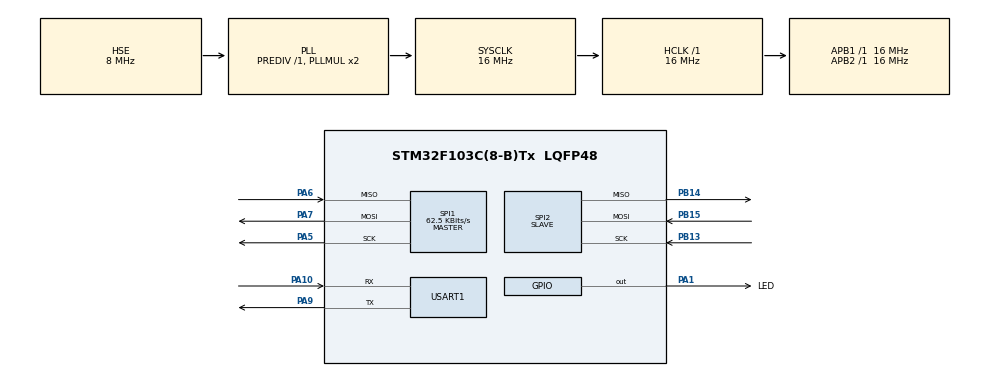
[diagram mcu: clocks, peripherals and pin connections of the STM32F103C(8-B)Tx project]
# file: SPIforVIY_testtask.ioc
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Dma.Request0=SPI1_TX
Dma.Request1=SPI2_RX
Dma.SPI1_TX.0.Direction=DMA_MEMORY_TO_PERIPH
Dma.SPI1_TX.0.Instance=DMA1_Channel3
Dma.SPI1_TX.0.MemDataAlignment=DMA_MDATAALIGN_BYTE
Dma.SPI1_TX.0.MemInc=DMA_MINC_ENABLE
Dma.SPI1_TX.0.Mode=DMA_NORMAL
Dma.SPI1_TX.0.PeriphDataAlignment=DMA_PDATAALIGN_BYTE
Dma.SPI1_TX.0.PeriphInc=DMA_PINC_DISABLE
Dma.SPI1_TX.0.Priority=DMA_PRIORITY_LOW
Dma.SPI2_RX.1.Direction=DMA_PERIPH_TO_MEMORY
Dma.SPI2_RX.1.Instance=DMA1_Channel4
Dma.SPI2_RX.1.MemDataAlignment=DMA_MDATAALIGN_BYTE
Dma.SPI2_RX.1.MemInc=DMA_MINC_ENABLE
Dma.SPI2_RX.1.Mode=DMA_NORMAL
Dma.SPI2_RX.1.PeriphDataAlignment=DMA_PDATAALIGN_BYTE
Dma.SPI2_RX.1.PeriphInc=DMA_PINC_DISABLE
Dma.SPI2_RX.1.Priority=DMA_PRIORITY_LOW
Mcu.Family=STM32F1
Mcu.Name=STM32F103C(8-B)Tx
Mcu.Package=LQFP48
NVIC.DMA1_Channel3_IRQn=true\:0\:0\:false\:false\:true\:false\:true\:true
NVIC.DMA1_Channel4_IRQn=true\:0\:0\:false\:false\:true\:false\:true\:true
NVIC.PriorityGroup=NVIC_PRIORITYGROUP_4
PA1.GPIO_Label=LED
PA1.Signal=GPIO_Output
PA10.Mode=Asynchronous
PA10.Signal=USART1_RX
PA13.Mode=Serial_Wire
PA13.Signal=SYS_JTMS-SWDIO
PA14.Mode=Serial_Wire
PA14.Signal=SYS_JTCK-SWCLK
PA5.Mode=Full_Duplex_Master
PA5.Signal=SPI1_SCK
PA6.Mode=Full_Duplex_Master
PA6.Signal=SPI1_MISO
PA7.Mode=Full_Duplex_Master
PA7.Signal=SPI1_MOSI
PA9.Mode=Asynchronous
PA9.Signal=USART1_TX
PB13.Mode=Full_Duplex_Slave
PB13.Signal=SPI2_SCK
PB14.Mode=Full_Duplex_Slave
PB14.Signal=SPI2_MISO
PB15.Mode=Full_Duplex_Slave
PB15.Signal=SPI2_MOSI
PD0-OSC_IN.Mode=HSE-External-Oscillator
PD0-OSC_IN.Signal=RCC_OSC_IN
PD1-OSC_OUT.Mode=HSE-External-Oscillator
PD1-OSC_OUT.Signal=RCC_OSC_OUT
ProjectManager.HeapSize=0x200
ProjectManager.StackSize=0x400
ProjectManager.TargetToolchain=STM32CubeIDE
RCC.AHBFreq_Value=16000000
RCC.APB1Freq_Value=16000000
RCC.APB1TimFreq_Value=16000000
RCC.APB2Freq_Value=16000000
RCC.APB2TimFreq_Value=16000000
RCC.HCLKFreq_Value=16000000
RCC.PLLSourceVirtual=RCC_PLLSOURCE_HSE
RCC.SYSCLKFreq_VALUE=16000000
RCC.SYSCLKSource=RCC_SYSCLKSOURCE_PLLCLK
RCC.USBFreq_Value=16000000
SPI1.BaudRatePrescaler=SPI_BAUDRATEPRESCALER_256
SPI1.CalculateBaudRate=62.5 KBits/s
SPI1.Direction=SPI_DIRECTION_2LINES
SPI1.Mode=SPI_MODE_MASTER
SPI1.VirtualType=VM_MASTER
SPI2.Direction=SPI_DIRECTION_2LINES
SPI2.Mode=SPI_MODE_SLAVE
SPI2.VirtualType=VM_SLAVE
USART1.VirtualMode=VM_ASYNC
board=custom

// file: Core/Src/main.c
/* USER CODE BEGIN Header */
/**
  ******************************************************************************
  * @file           : main.c
  * @brief          : Main program body
  ******************************************************************************
  * @attention
  *
  * Copyright (c) 2022 STMicroelectronics.
  * All rights reserved.
  *
  * This software is licensed under terms that can be found in the LICENSE file
  * in the root directory of this software component.
  * If no LICENSE file comes with this software, it is provided AS-IS.
  *
  ******************************************************************************
  */
/* USER CODE END Header */
#include "main.h"
#include "dma.h"
#include "spi.h"
#include "usart.h"
#include "gpio.h"

/* USER CODE BEGIN Includes */

	#include "stdio.h"
	#include <string.h>

/* USER CODE END Includes */

/* USER CODE BEGIN PD */

	#define	SPI_BUFFER_SIZE	16

/* USER CODE END PD */

/* USER CODE BEGIN PV */

	uint8_t tx_buffer_u8[SPI_BUFFER_SIZE];
	uint8_t rx_buffer_u8[SPI_BUFFER_SIZE]  = { 0 };
	uint8_t offset_u8 = 0x21;

/* USER CODE END PV */

void SystemClock_Config(void);

int main(void)
{

  /* MCU Configuration--------------------------------------------------------*/

  /* Reset of all peripherals, Initializes the Flash interface and the Systick. */
  HAL_Init();

  /* Configure the system clock */
  SystemClock_Config();

  /* Initialize all configured peripherals */
  MX_GPIO_Init();
  MX_DMA_Init();
  MX_USART1_UART_Init();
  MX_SPI1_Init();
  MX_SPI2_Init();
  /* USER CODE BEGIN 2 */

  	char DataChar[0xFF];
	sprintf(DataChar,"\r\n\tSPI+DMA for VIY\r\n" );
	HAL_UART_Transmit( &huart1, (uint8_t *)DataChar , strlen(DataChar) , 100 ) ;

	#define DATE_as_int_str 	(__DATE__)
	#define TIME_as_int_str 	(__TIME__)
	sprintf(DataChar,"\tBuild: %s. Time: %s." , DATE_as_int_str , TIME_as_int_str ) ;
	HAL_UART_Transmit( &huart1, (uint8_t *)DataChar , strlen(DataChar) , 100 ) ;

	sprintf(DataChar,"\r\n\tFor debug: UART1-115200/8-N-1\r\n" ) ;
	HAL_UART_Transmit( &huart1, (uint8_t *)DataChar , strlen(DataChar) , 100 ) ;

  /* USER CODE END 2 */

  /* Infinite loop */
  /* USER CODE BEGIN WHILE */
  while (1)
  {
	for (uint8_t i = 0; i < SPI_BUFFER_SIZE; i++) {
		tx_buffer_u8[i] = i + offset_u8;
	}
	offset_u8++;
	if (offset_u8 > (0x7F - SPI_BUFFER_SIZE) ) {
		offset_u8 = 0x21 ;
	}

	HAL_SPI_Receive_DMA(&hspi2, rx_buffer_u8, SPI_BUFFER_SIZE);

	sprintf(DataChar,"\r\n\r\nSPI_Tx_DMA:\t" ) ;
	HAL_UART_Transmit( &huart1, (uint8_t *)DataChar , strlen(DataChar) , 100 ) ;
	snprintf(DataChar, SPI_BUFFER_SIZE , "%s", tx_buffer_u8 ) ;
	HAL_UART_Transmit( &huart1, (uint8_t *)DataChar , strlen(DataChar) , 100 ) ;

	HAL_SPI_Transmit_DMA(&hspi1, tx_buffer_u8, SPI_BUFFER_SIZE);
	HAL_GPIO_WritePin(LED_GPIO_Port, LED_Pin, RESET);
	//HAL_SPI_Receive(&hspi2, rx_buffer_u8, SPI_BUFFER_SIZE, 500);

	HAL_Delay(1000);

//	sprintf(DataChar,"\r\nSPI_Rx:\t\t" ) ;
//	HAL_UART_Transmit( &huart1, (uint8_t *)DataChar , strlen(DataChar) , 100 ) ;
//	snprintf(DataChar, SPI_BUFFER_SIZE , "%s", (char*)rx_buffer_u8 ) ;
//	HAL_UART_Transmit( &huart1, (uint8_t *)DataChar , strlen(DataChar) , 100 ) ;

    /* USER CODE END WHILE */

  }
}

void SystemClock_Config(void)
{
  RCC_OscInitTypeDef RCC_OscInitStruct = {0};
  RCC_ClkInitTypeDef RCC_ClkInitStruct = {0};

  /** Initializes the RCC Oscillators according to the specified parameters
  * in the RCC_OscInitTypeDef structure.
  */
  RCC_OscInitStruct.OscillatorType = RCC_OSCILLATORTYPE_HSE;
  RCC_OscInitStruct.HSEState = RCC_HSE_ON;
  RCC_OscInitStruct.HSEPredivValue = RCC_HSE_PREDIV_DIV1;
  RCC_OscInitStruct.HSIState = RCC_HSI_ON;
  RCC_OscInitStruct.PLL.PLLState = RCC_PLL_ON;
  RCC_OscInitStruct.PLL.PLLSource = RCC_PLLSOURCE_HSE;
  RCC_OscInitStruct.PLL.PLLMUL = RCC_PLL_MUL2;
  if (HAL_RCC_OscConfig(&RCC_OscInitStruct) != HAL_OK)
  {
    Error_Handler();
  }

  /** Initializes the CPU, AHB and APB buses clocks
  */
  RCC_ClkInitStruct.ClockType = RCC_CLOCKTYPE_HCLK|RCC_CLOCKTYPE_SYSCLK
                              |RCC_CLOCKTYPE_PCLK1|RCC_CLOCKTYPE_PCLK2;
  RCC_ClkInitStruct.SYSCLKSource = RCC_SYSCLKSOURCE_PLLCLK;
  RCC_ClkInitStruct.AHBCLKDivider = RCC_SYSCLK_DIV1;
  RCC_ClkInitStruct.APB1CLKDivider = RCC_HCLK_DIV1;
  RCC_ClkInitStruct.APB2CLKDivider = RCC_HCLK_DIV1;

  if (HAL_RCC_ClockConfig(&RCC_ClkInitStruct, FLASH_LATENCY_0) != HAL_OK)
  {
    Error_Handler();
  }
}

/* USER CODE BEGIN 4 */
void HAL_SPI_TxCpltCallback(SPI_HandleTypeDef *hspi) {
  if (hspi->Instance == SPI1) {
	  HAL_GPIO_WritePin(LED_GPIO_Port, LED_Pin, SET);
  }
}

void HAL_SPI_RxCpltCallback(SPI_HandleTypeDef *hspi) {
	if (hspi->Instance == SPI2) {
		char uart_buffer [0xFF] = { 0 } ;
		sprintf(uart_buffer,"\r\nSPI_Rx_DMA:\t" ) ;
		HAL_UART_Transmit( &huart1, (uint8_t *)uart_buffer , strlen(uart_buffer) , 100 ) ;
		snprintf(uart_buffer, SPI_BUFFER_SIZE , "%s", (char*)rx_buffer_u8 ) ;
		HAL_UART_Transmit( &huart1, (uint8_t *)uart_buffer , strlen(uart_buffer) , 100 ) ;
	}
}

/* USER CODE END 4 */

void Error_Handler(void)
{
  __disable_irq();
  while (1)
  {
  }
}
